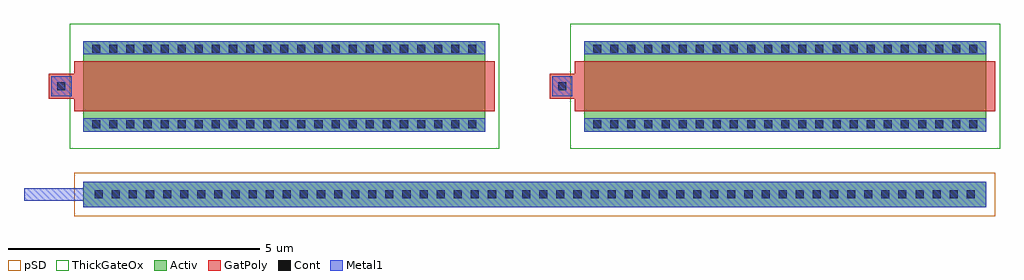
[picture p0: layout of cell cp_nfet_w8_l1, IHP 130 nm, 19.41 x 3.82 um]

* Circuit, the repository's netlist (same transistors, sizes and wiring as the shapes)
* extracted by klt extract --deck sg13cmos5l

* cell cp_nfet_w8_l1
* pin vsubs
.SUBCKT cp_nfet_w8_l1 vsubs
* device instance $1 r0 *1 5.3,3.36 nfet
X$1 \$6 \$2 \$3 vsubs sg13_hv_nmos L=1U W=8U AS=3.2P AD=3.2P PS=16.8U PD=16.8U
* device instance $2 r0 *1 15.26,3.36 nfet
X$2 \$7 \$4 \$5 vsubs sg13_hv_nmos L=1U W=8U AS=3.2P AD=3.2P PS=16.8U PD=16.8U
.ENDS cp_nfet_w8_l1

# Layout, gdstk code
import gdstk
lib = gdstk.Library(unit=1e-6, precision=1e-09)
def R(c, l, rs):  # rectangles x0, y0, x1, y1
    for r in rs: c.add(gdstk.rectangle(r[:2], r[2:], *l))
def A(c, l, x, y, w, h, nx, ny, dx, dy):  # array of equal rectangles
    R(c, l, [(x+i*dx, y+j*dy, x+i*dx+w, y+j*dy+h) for i in range(nx) for j in range(ny)])
Activ = (1, 0)
GatPoly = (5, 0)
Cont = (6, 0)
Metal1 = (8, 0)
pSD = (14, 0)
ThickGateOx = (44, 0)

cp_nfet_w8_l1 = lib.new_cell('cp_nfet_w8_l1')
R(cp_nfet_w8_l1, Activ, [(1.3,0.96,19.26,1.46), (1.3,2.46,9.3,4.26), (11.26,2.46,19.26,4.26)])
R(cp_nfet_w8_l1, GatPoly, [(1.12,2.86,9.48,3.86), (11.08,2.86,19.44,3.86), (0.62,3.11,1.12,3.61), (10.58,3.11,11.08,3.61)])
A(cp_nfet_w8_l1, Cont, 1.53, 1.13, 0.16, 0.16, 52, 1, 0.34, 0)
A(cp_nfet_w8_l1, Cont, 1.48, 2.53, 0.16, 0.16, 23, 2, 0.34, 1.5)
A(cp_nfet_w8_l1, Cont, 11.44, 2.53, 0.16, 0.16, 23, 2, 0.34, 1.5)
R(cp_nfet_w8_l1, Cont, [(0.79,3.28,0.95,3.44), (10.75,3.28,10.91,3.44)])
R(cp_nfet_w8_l1, Metal1, [(1.3,0.96,19.26,1.46), (0.125,1.085,1.3,1.335), (1.3,2.46,9.3,2.72), (11.26,2.46,19.26,2.72), (0.67,3.16,1.07,3.56), (10.63,3.16,11.03,3.56), (1.3,4,9.3,4.26), (11.26,4,19.26,4.26)])
R(cp_nfet_w8_l1, pSD, [(1.12,0.78,19.44,1.64)])
R(cp_nfet_w8_l1, ThickGateOx, [(1.03,2.12,9.57,4.6), (10.99,2.12,19.53,4.6)])

lib.write_gds('cp_nfet_w8_l1.gds')
